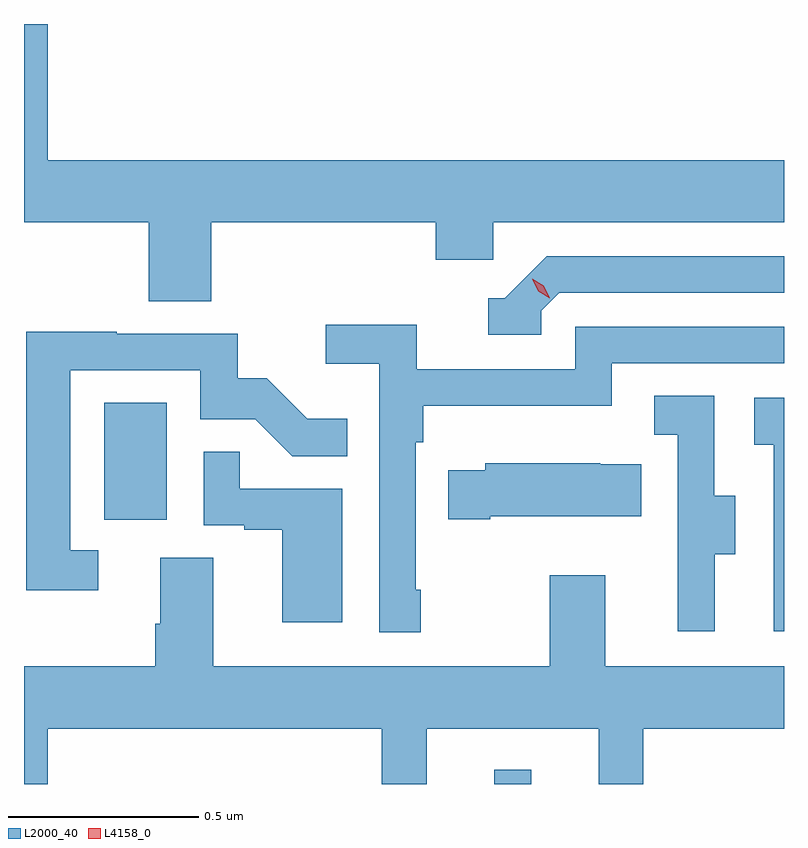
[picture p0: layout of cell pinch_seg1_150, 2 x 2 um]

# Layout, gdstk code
import gdstk
lib = gdstk.Library(unit=1e-6, precision=1e-09)
def R(c, l, rs):  # rectangles x0, y0, x1, y1
    for r in rs: c.add(gdstk.rectangle(r[:2], r[2:], *l))
def P(c, l, *ps):  # polygons
    for p in ps: c.add(gdstk.Polygon(p, *l))
L2000_40 = (2000, 40)
L4158_0 = (4158, 0)

pinch_seg1_150 = lib.new_cell('pinch_seg1_150')
R(pinch_seg1_150, L2000_40, [(1125.387,544.926,1125.484,544.963), (1124.36,545.622,1124.524,545.929)])
P(pinch_seg1_150, L2000_40, [(1124.642,546.404),(1125.233,546.404),(1125.233,546.306),(1125.384,546.306),(1125.384,546.404),(1126.149,546.404),(1126.149,546.568),(1124.212,546.568),(1124.212,546.926),(1124.149,546.926),(1124.149,546.404),(1124.477,546.404),(1124.477,546.196),(1124.642,546.196)],
  [(1125.51,546.171),(1125.558,546.219),(1126.149,546.219),(1126.149,546.315),(1125.525,546.315),(1125.414,546.204),(1125.371,546.204),(1125.371,546.108),(1125.51,546.108)],
  [(1125.193,545.437),(1125.18,545.437),(1125.18,545.825),(1125.2,545.825),(1125.2,545.921),(1125.696,545.921),(1125.696,546.033),(1126.149,546.033),(1126.149,546.129),(1125.6,546.129),(1125.6,546.018),(1125.182,546.018),(1125.182,546.134),(1124.943,546.134),(1124.943,546.032),(1125.084,546.032),(1125.084,545.325),(1125.193,545.325)],
  [(1124.344,545.541),(1124.271,545.541),(1124.271,546.015),(1124.613,546.015),(1124.613,545.886),(1124.757,545.886),(1124.855,545.788),(1124.999,545.788),(1124.999,545.887),(1124.895,545.887),(1124.788,545.994),(1124.712,545.994),(1124.712,546.111),(1124.393,546.111),(1124.393,546.116),(1124.155,546.116),(1124.155,545.436),(1124.344,545.436)],
  [(1125.967,545.53),(1126.021,545.53),(1126.021,545.685),(1125.966,545.685),(1125.966,545.948),(1125.807,545.948),(1125.807,545.845),(1125.87,545.845),(1125.87,545.541),(1125.869,545.541),(1125.869,545.328),(1125.967,545.328)],
  [(1126.149,545.943),(1126.071,545.943),(1126.071,545.819),(1126.122,545.819),(1126.122,545.328),(1126.149,545.328)],
  [(1124.986,545.703),(1124.717,545.703),(1124.717,545.801),(1124.622,545.801),(1124.622,545.607),(1124.729,545.607),(1124.729,545.595),(1124.828,545.595),(1124.828,545.352),(1124.986,545.352)],
  [(1125.376,545.63),(1125.773,545.63),(1125.773,545.767),(1125.665,545.767),(1125.665,545.77),(1125.363,545.77),(1125.363,545.752),(1125.265,545.752),(1125.265,545.623),(1125.376,545.623)],
  [(1124.212,545.072),(1125.091,545.072),(1125.091,544.926),(1125.209,544.926),(1125.209,545.072),(1125.662,545.072),(1125.662,544.926),(1125.779,544.926),(1125.779,545.072),(1126.149,545.072),(1126.149,545.236),(1125.679,545.236),(1125.679,545.476),(1125.532,545.476),(1125.532,545.236),(1124.647,545.236),(1124.647,545.522),(1124.507,545.522),(1124.507,545.348),(1124.495,545.348),(1124.495,545.236),(1124.149,545.236),(1124.149,544.926),(1124.212,544.926)])
P(pinch_seg1_150, L4158_0, [(1125.533,546.204),(1125.502,546.223),(1125.486,546.256),(1125.486,546.256),(1125.486,546.256),(1125.517,546.237),(1125.533,546.204),(1125.533,546.204)])

lib.write_gds('pinch_seg1_150.gds')
